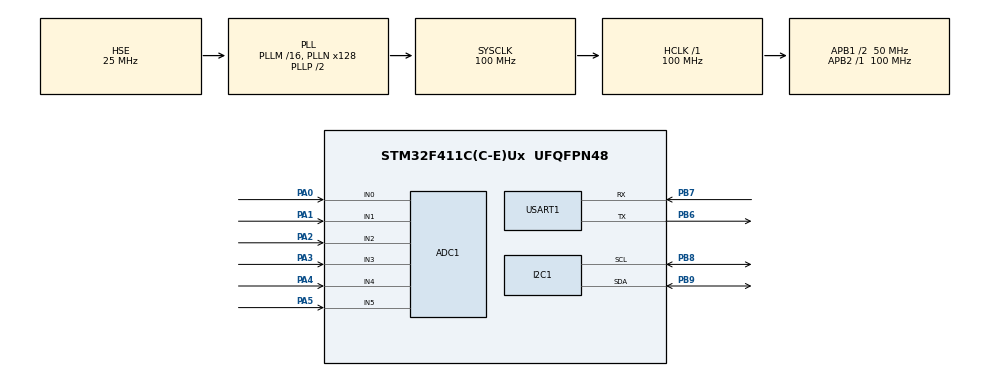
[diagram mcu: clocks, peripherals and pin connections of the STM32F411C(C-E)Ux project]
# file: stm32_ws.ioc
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ADC1.Channel-0\#ChannelRegularConversion=ADC_CHANNEL_0
ADC1.Channel-1\#ChannelRegularConversion=ADC_CHANNEL_1
ADC1.Channel-2\#ChannelRegularConversion=ADC_CHANNEL_2
ADC1.Channel-3\#ChannelRegularConversion=ADC_CHANNEL_3
ADC1.Channel-4\#ChannelRegularConversion=ADC_CHANNEL_4
ADC1.Channel-5\#ChannelRegularConversion=ADC_CHANNEL_5
ADC1.DiscontinuousConvMode=ENABLE
ADC1.NbrOfConversion=6
ADC1.NbrOfConversionFlag=1
ADC1.Rank-0\#ChannelRegularConversion=1
ADC1.Rank-1\#ChannelRegularConversion=2
ADC1.Rank-2\#ChannelRegularConversion=3
ADC1.Rank-3\#ChannelRegularConversion=4
ADC1.Rank-4\#ChannelRegularConversion=5
ADC1.Rank-5\#ChannelRegularConversion=6
ADC1.SamplingTime-0\#ChannelRegularConversion=ADC_SAMPLETIME_112CYCLES
ADC1.SamplingTime-1\#ChannelRegularConversion=ADC_SAMPLETIME_112CYCLES
ADC1.SamplingTime-2\#ChannelRegularConversion=ADC_SAMPLETIME_112CYCLES
ADC1.SamplingTime-3\#ChannelRegularConversion=ADC_SAMPLETIME_112CYCLES
ADC1.SamplingTime-4\#ChannelRegularConversion=ADC_SAMPLETIME_112CYCLES
ADC1.SamplingTime-5\#ChannelRegularConversion=ADC_SAMPLETIME_112CYCLES
ADC1.ScanConvMode=ENABLE
ADC1.master=1
Dma.Request0=USART1_RX
Dma.Request1=USART1_TX
Dma.USART1_RX.0.Direction=DMA_PERIPH_TO_MEMORY
Dma.USART1_RX.0.FIFOMode=DMA_FIFOMODE_DISABLE
Dma.USART1_RX.0.Instance=DMA2_Stream2
Dma.USART1_RX.0.MemDataAlignment=DMA_MDATAALIGN_BYTE
Dma.USART1_RX.0.MemInc=DMA_MINC_ENABLE
Dma.USART1_RX.0.Mode=DMA_CIRCULAR
Dma.USART1_RX.0.PeriphDataAlignment=DMA_PDATAALIGN_BYTE
Dma.USART1_RX.0.PeriphInc=DMA_PINC_DISABLE
Dma.USART1_RX.0.Priority=DMA_PRIORITY_VERY_HIGH
Dma.USART1_TX.1.Direction=DMA_MEMORY_TO_PERIPH
Dma.USART1_TX.1.FIFOMode=DMA_FIFOMODE_DISABLE
Dma.USART1_TX.1.Instance=DMA2_Stream7
Dma.USART1_TX.1.MemDataAlignment=DMA_MDATAALIGN_BYTE
Dma.USART1_TX.1.MemInc=DMA_MINC_ENABLE
Dma.USART1_TX.1.Mode=DMA_NORMAL
Dma.USART1_TX.1.PeriphDataAlignment=DMA_PDATAALIGN_BYTE
Dma.USART1_TX.1.PeriphInc=DMA_PINC_DISABLE
Dma.USART1_TX.1.Priority=DMA_PRIORITY_VERY_HIGH
FREERTOS.Tasks01=defaultTask,24,3000,PublisherTask,Default,NULL,Static,defaultTaskBuffer,defaultTaskControlBlock
I2C1.I2C_Mode=I2C_Fast
Mcu.Family=STM32F4
Mcu.Name=STM32F411C(C-E)Ux
Mcu.Package=UFQFPN48
NVIC.DMA2_Stream2_IRQn=true\:5\:0\:false\:false\:true\:true\:false\:true\:true
NVIC.DMA2_Stream7_IRQn=true\:5\:0\:false\:false\:true\:true\:false\:true\:true
NVIC.PriorityGroup=NVIC_PRIORITYGROUP_4
NVIC.TIM4_IRQn=true\:15\:0\:false\:false\:true\:false\:false\:true\:true
NVIC.TimeBase=TIM4_IRQn
NVIC.TimeBaseIP=TIM4
NVIC.USART1_IRQn=true\:5\:0\:false\:false\:true\:true\:true\:true\:true
PA0-WKUP.Signal=ADCx_IN0
PA1.Signal=ADCx_IN1
PA2.Signal=ADCx_IN2
PA3.Signal=ADCx_IN3
PA4.Signal=ADCx_IN4
PA5.Signal=ADCx_IN5
PB6.Mode=Asynchronous
PB6.Signal=USART1_TX
PB7.Mode=Asynchronous
PB7.Signal=USART1_RX
PB8.Mode=I2C
PB8.Signal=I2C1_SCL
PB9.Mode=I2C
PB9.Signal=I2C1_SDA
PH0\ -\ OSC_IN.Mode=HSE-External-Oscillator
PH0\ -\ OSC_IN.Signal=RCC_OSC_IN
PH1\ -\ OSC_OUT.Mode=HSE-External-Oscillator
PH1\ -\ OSC_OUT.Signal=RCC_OSC_OUT
ProjectManager.HeapSize=0x200
ProjectManager.StackSize=0x400
ProjectManager.TargetToolchain=Makefile
RCC.48MHZClocksFreq_Value=50000000
RCC.AHBFreq_Value=100000000
RCC.APB1CLKDivider=RCC_HCLK_DIV2
RCC.APB1Freq_Value=50000000
RCC.APB1TimFreq_Value=100000000
RCC.APB2Freq_Value=100000000
RCC.APB2TimFreq_Value=100000000
RCC.CortexFreq_Value=100000000
RCC.HCLKFreq_Value=100000000
RCC.HSE_VALUE=25000000
RCC.HSI_VALUE=16000000
RCC.LSE_VALUE=32768
RCC.PLLN=128
RCC.PLLSourceVirtual=RCC_PLLSOURCE_HSE
RCC.SYSCLKFreq_VALUE=100000000
RCC.SYSCLKSource=RCC_SYSCLKSOURCE_PLLCLK
RCC.VCOOutputFreq_Value=200000000
SH.ADCx_IN0.0=ADC1_IN0,IN0
SH.ADCx_IN1.0=ADC1_IN1,IN1
SH.ADCx_IN2.0=ADC1_IN2,IN2
SH.ADCx_IN3.0=ADC1_IN3,IN3
SH.ADCx_IN4.0=ADC1_IN4,IN4
SH.ADCx_IN5.0=ADC1_IN5,IN5
USART1.VirtualMode=VM_ASYNC
VP_FREERTOS_VS_CMSIS_V2.Mode=CMSIS_V2
VP_IWDG_VS_IWDG.Mode=IWDG_Activate
VP_SYS_VS_tim4.Mode=TIM4
board=custom

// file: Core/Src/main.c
/* USER CODE BEGIN Header */
/**
  ******************************************************************************
  * @file           : main.c
  * @brief          : Main program body
  ******************************************************************************
  * @attention
  *
  * Copyright (c) 2025 STMicroelectronics.
  * All rights reserved.
  *
  * This software is licensed under terms that can be found in the LICENSE file
  * in the root directory of this software component.
  * If no LICENSE file comes with this software, it is provided AS-IS.
  *
  ******************************************************************************
  */
/* USER CODE END Header */
#include "main.h"

void SystemClock_Config(void);
void MX_FREERTOS_Init(void);

int main(void)
{

  /* MCU Configuration--------------------------------------------------------*/

  /* Reset of all peripherals, Initializes the Flash interface and the Systick. */
  HAL_Init();

  /* Configure the system clock */
  SystemClock_Config();

  /* Initialize all configured peripherals */
  MX_GPIO_Init();
  MX_DMA_Init();
  MX_ADC1_Init();
  MX_USART1_UART_Init();
  MX_I2C1_Init();
//  MX_IWDG_Init();
  tim_TIM1_3PWM_Config();
  tim_TIM2_3PWM_Config();
  tim_TIM3_3PWM_Config();

  /* USER CODE BEGIN 2 */
  RCC->AHB1ENR |=  RCC_AHB1ENR_GPIOBEN;
  GPIOB->MODER |=  (GPIO_MODER_MODE4_0 | GPIO_MODER_MODE5_0);
  GPIOB->MODER &= ~(GPIO_MODER_MODE4_1 | GPIO_MODER_MODE5_1);

//  GPIOB->MODER |=  GPIO_MODER_MODE1_0;
//  GPIOB->MODER &= ~GPIO_MODER_MODE1_1;

  /* USER CODE END 2 */

  /* Init scheduler */
  osKernelInitialize();  /* Call init function for freertos objects (in cmsis_os2.c) */
  MX_FREERTOS_Init();

  /* Start scheduler */
  osKernelStart();

  /* We should never get here as control is now taken by the scheduler */

  /* Infinite loop */
  while (1)
  {

  }
}

void SystemClock_Config(void)
{
  RCC_OscInitTypeDef RCC_OscInitStruct = {0};
  RCC_ClkInitTypeDef RCC_ClkInitStruct = {0};

  /** Configure the main internal regulator output voltage
  */
  __HAL_RCC_PWR_CLK_ENABLE();
  __HAL_PWR_VOLTAGESCALING_CONFIG(PWR_REGULATOR_VOLTAGE_SCALE1);

  /** Initializes the RCC Oscillators according to the specified parameters
  * in the RCC_OscInitTypeDef structure.
  */
  RCC_OscInitStruct.OscillatorType = RCC_OSCILLATORTYPE_LSI|RCC_OSCILLATORTYPE_HSE;
  RCC_OscInitStruct.HSEState = RCC_HSE_ON;
  RCC_OscInitStruct.LSIState = RCC_LSI_ON;
  RCC_OscInitStruct.PLL.PLLState = RCC_PLL_ON;
  RCC_OscInitStruct.PLL.PLLSource = RCC_PLLSOURCE_HSE;
  RCC_OscInitStruct.PLL.PLLM = 16;
  RCC_OscInitStruct.PLL.PLLN = 128;
  RCC_OscInitStruct.PLL.PLLP = RCC_PLLP_DIV2;
  RCC_OscInitStruct.PLL.PLLQ = 4;
  if (HAL_RCC_OscConfig(&RCC_OscInitStruct) != HAL_OK)
  {
    Error_Handler();
  }

  /** Initializes the CPU, AHB and APB buses clocks
  */
  RCC_ClkInitStruct.ClockType = RCC_CLOCKTYPE_HCLK|RCC_CLOCKTYPE_SYSCLK
                              |RCC_CLOCKTYPE_PCLK1|RCC_CLOCKTYPE_PCLK2;
  RCC_ClkInitStruct.SYSCLKSource = RCC_SYSCLKSOURCE_PLLCLK;
  RCC_ClkInitStruct.AHBCLKDivider = RCC_SYSCLK_DIV1;
  RCC_ClkInitStruct.APB1CLKDivider = RCC_HCLK_DIV2;
  RCC_ClkInitStruct.APB2CLKDivider = RCC_HCLK_DIV1;

  if (HAL_RCC_ClockConfig(&RCC_ClkInitStruct, FLASH_LATENCY_3) != HAL_OK)
  {
    Error_Handler();
  }
}

void HAL_TIM_PeriodElapsedCallback(TIM_HandleTypeDef *htim)
{
  if (htim->Instance == TIM4)
  {
    HAL_IncTick();
  }
}

void Error_Handler(void)
{
  __disable_irq();
  while (1)
  {
  }
}

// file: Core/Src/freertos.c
/* USER CODE BEGIN Header */
/**
 ******************************************************************************
 * File Name          : freertos.c
 * Description        : Code for freertos applications
 ******************************************************************************
 * @attention
 *
 * Copyright (c) 2025 STMicroelectronics.
 * All rights reserved.
 *
 * This software is licensed under terms that can be found in the LICENSE file
 * in the root directory of this software component.
 * If no LICENSE file comes with this software, it is provided AS-IS.
 *
 ******************************************************************************
 */
/* USER CODE END Header */

#include "FreeRTOS.h"
#include "task.h"
#include "main.h"

/* USER CODE BEGIN Includes */
#include <rcl/rcl.h>
#include <rcl/error_handling.h>
#include <rclc/rclc.h>
#include <rclc/executor.h>
#include <uxr/client/transport.h>
#include <rmw_microxrcedds_c/config.h>
#include <rmw_microros/rmw_microros.h>

#include <sensor_msgs/msg/joint_state.h>
#include <rosidl_runtime_c/string_functions.h>
#include <rosidl_runtime_c/primitives_sequence_functions.h>
#include <sensor_msgs/msg/detail/joint_state__functions.h>
/* USER CODE END Includes */

typedef StaticTask_t osStaticThreadDef_t;

/* USER CODE BEGIN PD */
#define NUM_JOINTS (3U)
/* USER CODE END PD */

/* USER CODE BEGIN Variables */
rcl_node_t node;
rclc_support_t support;
rcl_allocator_t allocator;
rclc_executor_t executor;
PCA9548a_s PCA9548a;
sensor_msgs__msg__JointState joint_desired_msg;
sensor_msgs__msg__JointState joint_state_msg;
rcl_publisher_t publisher;
rcl_subscription_t subscriber;
bool microros_initialized   = 0;
bool controller_initialized = 0;
bool filter_initialized     = 0;
PIDController_s pid[NUM_JOINTS];
LowPassFilter_s lpf[NUM_JOINTS];
LowPassFilter_s lpf_qaxis;
HighGainObsv_s  obsv[NUM_JOINTS];
/* USER CODE END Variables */
/* Definitions for jointStatesPublisherTask */
osThreadId_t jointStatesPublisherTaskHandle;
uint32_t jointStatesPublisherTaskBuffer[ 1024 * 3 ];
osStaticThreadDef_t jointStatesPublisherTaskControlBlock;
const osThreadAttr_t jointStatesPublisherTask_attributes = {
		.name = "publisherTask",
		.cb_mem = &jointStatesPublisherTaskControlBlock,
		.cb_size = sizeof(jointStatesPublisherTaskControlBlock),
		.stack_mem = &jointStatesPublisherTaskBuffer[0],
		.stack_size = sizeof(jointStatesPublisherTaskBuffer),
		.priority = (osPriority_t) osPriorityNormal,
};

/* Definitions for jointDesiredSubscriberTask */
osThreadId_t jointDesiredSubscriberTaskHandle;
uint32_t jointDesiredSubscriberTaskBuffer[ 1024 * 3 ];
osStaticThreadDef_t jointDesiredSubscriberTaskControlBlock;
const osThreadAttr_t jointDesiredSubscriberTask_attributes = {
		.name = "subscriberTask",
		.cb_mem = &jointDesiredSubscriberTaskControlBlock,
		.cb_size = sizeof(jointDesiredSubscriberTaskControlBlock),
		.stack_mem = &jointDesiredSubscriberTaskBuffer[0],
		.stack_size = sizeof(jointDesiredSubscriberTaskBuffer),
		.priority = (osPriority_t) osPriorityNormal,
};

/* Definitions for jointStatesReadTask */
osThreadId_t jointStatesReadTaskHandle;
uint32_t jointStatesReadTaskBuffer[ 512 ];
osStaticThreadDef_t jointStatesReadTaskControlBlock;
const osThreadAttr_t jointStatesReadTask_attributes = {
		.name = "jointStatesReadTask",
		.cb_mem = &jointStatesReadTaskControlBlock,
		.cb_size = sizeof(jointStatesReadTaskControlBlock),
		.stack_mem = &jointStatesReadTaskBuffer[0],
		.stack_size = sizeof(jointStatesReadTaskBuffer),
		.priority = (osPriority_t) osPriorityNormal,
};

/* Definitions for jointStatesControlTask */
osThreadId_t jointStatesControlTaskHandle;
uint32_t jointStatesControlTaskBuffer[ 512 ];
osStaticThreadDef_t jointStatesControlTaskControlBlock;
const osThreadAttr_t jointStatesControlTask_attributes = {
	.name = "jointStatesControlTask",
	.cb_mem = &jointStatesControlTaskControlBlock,
	.cb_size = sizeof(jointStatesControlTaskControlBlock),
	.stack_mem = &jointStatesControlTaskBuffer[0],
	.stack_size = sizeof(jointStatesControlTaskBuffer),
	.priority = (osPriority_t) osPriorityNormal,
};

/* Definitions for initTask */
osThreadId_t initTaskHandle;
uint32_t initTaskBuffer[ 1024 * 1 ];
osStaticThreadDef_t initTaskControlBlock;
const osThreadAttr_t initTask_attributes = {
		.name = "initTask",
		.cb_mem = &initTaskControlBlock,
		.cb_size = sizeof(initTaskControlBlock),
		.stack_mem = &initTaskBuffer[0],
		.stack_size = sizeof(initTaskBuffer),
		.priority = (osPriority_t) osPriorityHigh,
};

/* USER CODE BEGIN FunctionPrototypes */
bool cubemx_transport_open(struct uxrCustomTransport * transport);
bool cubemx_transport_close(struct uxrCustomTransport * transport);
size_t cubemx_transport_write(struct uxrCustomTransport* transport, const uint8_t * buf, size_t len, uint8_t * err);
size_t cubemx_transport_read(struct uxrCustomTransport* transport, uint8_t* buf, size_t len, int timeout, uint8_t* err);

void * microros_allocate(size_t size, void * state);
void microros_deallocate(void * pointer, void * state);
void * microros_reallocate(void * pointer, size_t size, void * state);
void * microros_zero_allocate(size_t number_of_elements, size_t size_of_element, void * state);
void JointStateCallback(const void *msgin);
/* USER CODE END FunctionPrototypes */

void JointStatesPublisherTask(void *argument);
void JointDesiredSubscriberTask(void *argument);
void JointStatesReadTask(void *argument);
void JointStatesControlTask(void *argument);
void InitTask(void *argument);
void InitMicroROS(void);
void MX_FREERTOS_Init(void); /* (MISRA C 2004 rule 8.1) */

void ControlLoop(float e, float tau, size_t joint_id);

void ControlLoopNew(float e, float tau, size_t joint_id);

void SetPWM(float dc_phase_a, float dc_phase_b, float dc_phase_c, size_t joint_id);
float TorqueEstimation(uint8_t motor_id);
float TorqueEstimationNew(uint8_t motor_id, float Vq);
float GetDGZ(float theta, float Ua, float Ub, float Uc);
float WrapAngle(float angle);
void InitControllers(void);
void InitFilters(void);
void InitObserversANDqAxisFilter(void);
void MX_FREERTOS_Init(void) {

	initTaskHandle = osThreadNew(InitTask, NULL, &initTask_attributes);

	/* Create the thread(s) */
	/* creation of jointStatesPublisherTask */
	jointStatesPublisherTaskHandle = osThreadNew(JointStatesPublisherTask, NULL, &jointStatesPublisherTask_attributes);

	/* creation of jointDesiredSubscriberTask */
	jointDesiredSubscriberTaskHandle = osThreadNew(JointDesiredSubscriberTask, NULL, &jointDesiredSubscriberTask_attributes);

	/* USER CODE BEGIN RTOS_THREADS */
	/* add threads, ... */
	/* creation of jointStatesReadTask */
	jointStatesReadTaskHandle = osThreadNew(JointStatesReadTask, NULL, &jointStatesReadTask_attributes);

	/* creation of jointStatesControlTask */
	jointStatesControlTaskHandle = osThreadNew(JointStatesControlTask, NULL, &jointStatesControlTask_attributes);

	/* USER CODE END RTOS_THREADS */

}

void JointStatesPublisherTask(void *argument)
{
	while (!microros_initialized) {
		osDelay(10);
	}

	// Initialize publisher
	rclc_publisher_init_best_effort(
			&publisher,
			&node,
			ROSIDL_GET_MSG_TYPE_SUPPORT(sensor_msgs, msg, JointState),
			"joint_states");

	sensor_msgs__msg__JointState__init(&joint_state_msg);

	// Initialize string and double sequences
	rosidl_runtime_c__String__Sequence__init(&joint_state_msg.name, NUM_JOINTS);
	rosidl_runtime_c__double__Sequence__init(&joint_state_msg.position, NUM_JOINTS);
	rosidl_runtime_c__double__Sequence__init(&joint_state_msg.velocity, NUM_JOINTS);
	rosidl_runtime_c__double__Sequence__init(&joint_state_msg.effort, NUM_JOINTS);

	// Assign joint names
	rosidl_runtime_c__String__assign(&joint_state_msg.name.data[0], "joint1");
	rosidl_runtime_c__String__assign(&joint_state_msg.name.data[1], "joint2");
	rosidl_runtime_c__String__assign(&joint_state_msg.name.data[2], "joint3");

	// Initialize joint values
	for (size_t i = 0; i < NUM_JOINTS; i++) {
		joint_state_msg.position.data[i] = 0.0;
		joint_state_msg.velocity.data[i] = 0.0;
		joint_state_msg.effort.data[i]   = 0.0;
	}

	for (;;)
	{
		// Timestamp
		joint_state_msg.header.stamp.sec = (int32_t)(xTaskGetTickCount() / 1000);
		joint_state_msg.header.stamp.nanosec = (xTaskGetTickCount() % 1000) * 1000000;

		// Simulate joint values
		for (size_t i = 0; i < NUM_JOINTS; i++) {
			joint_state_msg.position.data[i] = PCA9548a.position[i];
			joint_state_msg.velocity.data[i] = PCA9548a.velocity[i];
//			joint_state_msg.effort.data[i]   = TorqueEstimation(i);
//			joint_state_msg.effort.data[i]   = 0.0f;
			if (i == 0) {
				joint_state_msg.position.data[i] += 0.30; // sensor 0 offset quick fix
			}
			if (i == 2) {
				joint_state_msg.position.data[i] -= 0.37; // sensor 2 offset quick fix
			}
		}

		// Publish the message
		rcl_ret_t ret = rcl_publish(&publisher, &joint_state_msg, NULL);
		if (ret != RCL_RET_OK) {
			printf("Failed to publish JointState message (line %d)\n", __LINE__);
		}

		GPIOB->ODR ^= GPIO_ODR_OD4;
		HAL_IWDG_Refresh(&hiwdg);
//		osDelay(pdMS_TO_TICKS(1));
		vTaskDelay(pdMS_TO_TICKS(10));
	}
}

void JointDesiredSubscriberTask(void *argument)
{
	while (!microros_initialized) {
		osDelay(10);
	}

	// Spin loop
	for (;;)
	{
		rclc_executor_spin_some(&executor, RCL_MS_TO_NS(1));  // check every 100ms
//		rclc_executor_fini(&executor);
		vTaskDelay(pdMS_TO_TICKS(10));
//		osDelay(pdMS_TO_TICKS(1));
	}
}

/* USER CODE BEGIN Header_PosReadTask */
void JointStatesReadTask(void *argument)
{
	while (!filter_initialized) {
		osDelay(10);
	}
	TickType_t lastWake = xTaskGetTickCount();
	const TickType_t period = pdMS_TO_TICKS(10);

	for (size_t i = 0; i < NUM_JOINTS; i++) {
		PCA9548a.position[i]     = 0.0;
		PCA9548a.prevPosition[i] = 0.0;
		PCA9548a.velocity[i]     = 0.0;
		PCA9548a.prevTick[i]     = 0;
	}

	for (;;)
	{
		for (uint8_t i = 0; i < NUM_JOINTS; i++) {
//			pca9548a_GetStates(&PCA9548a, &lpf[i], i);
			pca9548a_GetStates_HighGain(&PCA9548a, &obsv[i], i);
//			GPIOB->ODR ^= GPIO_ODR_OD1;
		}

//		osDelay(pdMS_TO_TICKS(10));
		vTaskDelayUntil(&lastWake, period);
	}
}

void JointStatesControlTask(void *argument)
{
	while (!controller_initialized) {
		osDelay(10);
	}

//	float gear_coeffs[] = {1.0, 40.0/16.0, 70.0/16.0};
	TickType_t lastWake = xTaskGetTickCount();
	const TickType_t period = pdMS_TO_TICKS(1);

	for (;;)
	{
		for (size_t joint_id = 0; joint_id < NUM_JOINTS; joint_id++) {
			// error calculation
//			float e = joint_desired_msg.position.data[joint_id] - joint_state_msg.position.data[joint_id];
			float e = joint_desired_msg.position.data[joint_id];

			// torque command
			float tau = joint_desired_msg.effort.data[joint_id];

			// run control loop
//			ControlLoop(e * gear_coeffs[joint_id], tau, joint_id);
			ControlLoop(e, tau, joint_id);
//			ControlLoopNew(e, tau, joint_id);
//			osDelay(pdMS_TO_TICKS(1));
			vTaskDelayUntil(&lastWake, period);
		}
//		GPIOB->ODR ^= GPIO_ODR_OD1;
//		vTaskDelayUntil(&lastWake, period);
//		osDelay(pdMS_TO_TICKS(10));
	}
}

void JointStateCallback(const void *msgin)
{
	const sensor_msgs__msg__JointState *msg = (const sensor_msgs__msg__JointState *)msgin;

	if (msg->position.size >= NUM_JOINTS) {
		for (size_t i = 0; i < NUM_JOINTS; i++) {
			joint_desired_msg.position.data[i] = msg->position.data[i];
			joint_desired_msg.velocity.data[i] = msg->velocity.data[i];
			joint_desired_msg.effort.data[i]   = msg->effort.data[i];
		}
	}
	GPIOB->ODR ^= GPIO_ODR_OD5;
}

void InitMicroROS(void)
{
	// Set up micro-ROS UART transport
	rmw_uros_set_custom_transport(
			true,
			(void *) &huart1,
			cubemx_transport_open,
			cubemx_transport_close,
			cubemx_transport_write,
			cubemx_transport_read);

	rcl_allocator_t freeRTOS_allocator = rcutils_get_zero_initialized_allocator();
	freeRTOS_allocator.allocate = microros_allocate;
	freeRTOS_allocator.deallocate = microros_deallocate;
	freeRTOS_allocator.reallocate = microros_reallocate;
	freeRTOS_allocator.zero_allocate =  microros_zero_allocate;

	if (!rcutils_set_default_allocator(&freeRTOS_allocator)) {
		printf("Error on default allocators (line %d)\n", __LINE__);
	}

	allocator = rcl_get_default_allocator();

	//create init_options
	rclc_support_init(&support, 0, NULL, &allocator);

	// create node
	rclc_node_init_default(&node, "stm32_node", "", &support);

	// Initialize subscriber
	rclc_subscription_init_best_effort(
			&subscriber,
			&node,
			ROSIDL_GET_MSG_TYPE_SUPPORT(sensor_msgs, msg, JointState),
			"joint_desireds");

	// Initialize local storage message
	rosidl_runtime_c__String__Sequence__init(&joint_desired_msg.name, NUM_JOINTS);
	rosidl_runtime_c__double__Sequence__init(&joint_desired_msg.position, NUM_JOINTS);
	rosidl_runtime_c__double__Sequence__init(&joint_desired_msg.velocity, NUM_JOINTS);
	rosidl_runtime_c__double__Sequence__init(&joint_desired_msg.effort, NUM_JOINTS);

	// Assign joint names
	rosidl_runtime_c__String__assign(&joint_desired_msg.name.data[0], "joint1");
	rosidl_runtime_c__String__assign(&joint_desired_msg.name.data[1], "joint2");
	rosidl_runtime_c__String__assign(&joint_desired_msg.name.data[2], "joint3");

	// Initialize joint values
	for (size_t i = 0; i < NUM_JOINTS; i++) {
		joint_desired_msg.position.data[i] = 0.0;
		joint_desired_msg.velocity.data[i] = 0.0;
		joint_desired_msg.effort.data[i]   = 0.0;
	}

	rclc_executor_init(&executor, &support.context, 1, &allocator);

	// Add subscription with callback
	rclc_executor_add_subscription(
			&executor,
			&subscriber,
			&joint_desired_msg,
			&JointStateCallback,
			ON_NEW_DATA);

	microros_initialized = 1;

}

void ControlLoop(float e, float tau, size_t joint_id)
{
//	float elec_angle = pid_Operator(&pid[joint_id], e);
	float elec_angle = e;
//	float elec_angle = 14.0 * joint_state_msg.position.data[joint_id];
//	float elec_angle = WrapAngle(pid_Operator(&pid[joint_id], e));
//	float elec_angle = pid_Operator(&pid[joint_id], tau);
//	float elec_angle = tau;
	float Uq = tau; // slow start-up
//	float Uq = pid_Operator(&pid[joint_id], tau);
//	float Uq = tau;
//	float Uq = lpf_Operator(&lpf_qaxis, tau); // slow start-up
	float Ud = 0.0;
//	float theta = joint_state_msg.position.data[joint_id];
//	float w     = joint_state_msg.velocity.data[joint_id];
//	float theta_d = joint_desired_msg.position.data[joint_id];
//	float w_d     = 0.0;
//	float P = 15.0, D = 1.02;
//	float elec_angle = WrapAngle(14 * theta);
////	float Uq = -(P * (theta_d - theta) + D * (w_d - w));
////	float Uq = -(P * (theta_d - 0.0) + D * (0.0 - w));
//	float Uq = -(P * (0.0 - theta) + D * (0.0 - w));
////	Uq = lpf_Operator(&lpf_qaxis, _constrain(-5.0*Uq, -15.0f, 15.0f)); // slow start-up
//	Uq = lpf_Operator(&lpf_qaxis, Uq); // slow start-up
//	float Ud = 0.0;

	// sin cos of elec_angle
	float s_elec_angle = sin(elec_angle);
	float c_elec_angle = cos(elec_angle);

	// inverse park transform
	float Ualpha = c_elec_angle * Ud - s_elec_angle * Uq;
	float Ubeta  = s_elec_angle * Ud + c_elec_angle * Uq;

	// clarke transform
	float Ua = Ualpha;
	float Ub = - 0.5f * Ualpha + 0.5f * sqrt(3.0f) * Ubeta;
	float Uc = - 0.5f * Ualpha - 0.5f * sqrt(3.0f) * Ubeta;

	// center
	float center = 24.0f / 2.0f; // changed. old value = 15 / 2

	// midpoint clamp
	float Umin = fmin(Ua, fmin(Ub, Uc));
	float Umax = fmax(Ua, fmax(Ub, Uc));
	center = center - 0.5f * (Umax + Umin);

//	// centered modulation
//	Ua = _constrain(Ua - Umin, 0.0, 24.0);
//	Ub = _constrain(Ub - Umin, 0.0, 24.0);
//	Uc = _constrain(Uc - Umin, 0.0, 24.0);

	// centered modulation
	Ua = _constrain(Ua + center, 0.0f, 24.0f); // changed
	Ub = _constrain(Ub + center, 0.0f, 24.0f);
	Uc = _constrain(Uc + center, 0.0f, 24.0f);

//	float gear_coeffs[] = {1.0, 40.0/16.0, 70.0/16.0};
//	// pole pairs
//	float pp = 14.0;
//
//	//
//	float theta = joint_state_msg.position.data[joint_id] * gear_coeffs[joint_id] * pp;
//	float Uq_tmp = GetDGZ(theta, Ua, Ub, Uc);
//	joint_state_msg.effort.data[joint_id] = Uq_tmp;

//	joint_state_msg.effort.data[joint_id] = TorqueEstimationNew(joint_id, Uq_tmp);

	float dc_a = _constrain(Ua / 24.0, 0.0, 1.0);
	float dc_b = _constrain(Ub / 24.0, 0.0, 1.0);
	float dc_c = _constrain(Uc / 24.0, 0.0, 1.0);

	SetPWM(dc_a, dc_b, dc_c, joint_id);
}

void ControlLoopNew(float e, float tau, size_t joint_id)
{
	// electrical angle
	float elec_angle = 14.0 * joint_state_msg.position.data[joint_id];

	// dq voltages
 	float Uq = tau;
 	float Ud = 0.0;

	// dc-link voltage
	const float Vdc = 24.0f;

	// linear SVPWM voltage limit
	const float Vmax = Vdc * 0.5773502692f;   // Vdc/sqrt(3)

    // limit dq voltage vector
    float U_mag = sqrtf(Ud * Ud + Uq * Uq);
    if (U_mag > Vmax)
    {
        float scale = Vmax / U_mag;

        Ud *= scale;
        Uq *= scale;
    }

	// sin cos of elec_angle
	float s_elec_angle = sin(elec_angle);
	float c_elec_angle = cos(elec_angle);

	// inverse park transform
	float Ualpha = c_elec_angle * Ud - s_elec_angle * Uq;
	float Ubeta  = s_elec_angle * Ud + c_elec_angle * Uq;

	// inverse clarke transform
    const float SQRT3_BY_2 = 0.8660254038f;
    float Ua = Ualpha;
    float Ub = -0.5f * Ualpha + SQRT3_BY_2 * Ubeta;
    float Uc = -0.5f * Ualpha - SQRT3_BY_2 * Ubeta;

	// centered SVPWM
    float Umin = fminf(Ua, fminf(Ub, Uc));
    float Umax = fmaxf(Ua, fmaxf(Ub, Uc));
    float Vcm  = -0.5f * (Umax + Umin);
    Ua += Vcm;
    Ub += Vcm;
    Uc += Vcm;

    // convert phase voltages to duty cycles
    float dc_a = 0.5f + Ua / Vdc;
    float dc_b = 0.5f + Ub / Vdc;
    float dc_c = 0.5f + Uc / Vdc;
    dc_a = _constrain(dc_a, 0.0f, 1.0f);
    dc_b = _constrain(dc_b, 0.0f, 1.0f);
    dc_c = _constrain(dc_c, 0.0f, 1.0f);

    // PWM generation
    SetPWM(dc_a, dc_b, dc_c, joint_id);
}

void SetPWM(float dc_phase_a, float dc_phase_b, float dc_phase_c, size_t joint_id)
{
	uint32_t ticks = 0;
	switch (joint_id) {
	case 0:
		// PWM counts
		ticks = TIM1->ARR + 1;

		// write duty cycle in timer 1
		TIM1->CCR1 = (ticks * dc_phase_a);
		TIM1->CCR2 = (ticks * dc_phase_b);
		TIM1->CCR3 = (ticks * dc_phase_c);
		break;
	case 1:
		// PWM counts
		ticks = TIM2->ARR + 1;

		// write duty cycle in timer 2
		TIM2->CCR1 = (ticks * dc_phase_a);
		TIM2->CCR2 = (ticks * dc_phase_b);
		TIM2->CCR3 = (ticks * dc_phase_c);
		break;
	case 2:
		// PWM counts
		ticks = TIM3->ARR + 1;

		// write duty cycle in timer 3
		TIM3->CCR1 = (ticks * dc_phase_a);
		TIM3->CCR2 = (ticks * dc_phase_b);
		TIM3->CCR3 = (ticks * dc_phase_c);
		break;
	default:
		break;
	}
}

void InitControllers(void)
{
	for (size_t i = 0; i < NUM_JOINTS; i++) {
		pid_Init(&pid[i]);
		pid_SetGains(&pid[i], 0.01, 20.0, 0.0, 50.0, 1000.0);
	}

	controller_initialized = 1;
}

void InitFilters(void)
{
	float Tfd = 0.1, Tff = 0.05;
//	float Tfd = 0.05, Tff = 0.005;
	for (size_t i = 0; i < NUM_JOINTS; i++) {
		lpf_Init(&lpf[i], Tff, Tfd);
	}

	lpf_Init(&lpf_qaxis, 0.5, Tfd);

	filter_initialized = 1;
}

void InitObserversANDqAxisFilter(void)
{
	// observer initial states
	ObsvStates_s x_hat0;
	x_hat0.pos = 0.0;
	x_hat0.vel = 0.0;

	// design params
	float alpha1 = 6.0;
	float alpha2 = 5.0;
	float eps    = 0.1;

	// initialization
	for (size_t i = 0; i < NUM_JOINTS; i++) {
		observer_Init(&obsv[i], x_hat0, alpha1, alpha2, eps);
	}

	// init q-axis low-pass filter
	float Tfd = 0.1, Tff = 0.5;
	lpf_Init(&lpf_qaxis, Tff, Tfd);

	// flag
	filter_initialized = 1;
}

float TorqueEstimation(uint8_t motor_id)
{
	float Kt = 1.9137; // torque constant for XM9025GB-SR
	uint32_t ticks = 0;
	float    dc    = 0;
	switch (motor_id) {
	case 0:
		// PWM counts
		ticks = TIM1->ARR + 1;

		// duty cycle average
		dc = (float)(TIM1->CCR1 + TIM1->CCR2 + TIM1->CCR3) / (3.0 * ticks);
		break;
	case 1:
		// PWM counts
		ticks = TIM2->ARR + 1;

		// duty cycle average
		dc = (float)(TIM2->CCR1 + TIM2->CCR2 + TIM2->CCR3) / (3.0 * ticks);
		break;
	case 2:
		// PWM counts
		ticks = TIM3->ARR + 1;

		// duty cycle average
		dc = (float)(TIM3->CCR1 + TIM3->CCR2 + TIM3->CCR3) / (3.0 * ticks);
		break;
	default:
		break;
	}

	float R = 34.3; // phase resistance
	float V = 24.0; // phase max voltage
	float torque = Kt * dc * V / R;
	return torque;
}

float TorqueEstimationNew(uint8_t motor_id, float Vq)
{
	float gear_coeffs[] = {1.0, 40.0/16.0, 70.0/16.0};
	float Ke = 1.9137 / 5.0;   // back-emf constant for XM9025GB-SR
	float Kt = 0.6 * Ke;       // torque constant for XM9025GB-SR
	float pp = 14; // pole-pairs
	float lambda = Ke / pp;

	float R = 34.3; // phase resistance
	float w  = joint_state_msg.velocity.data[motor_id];
	float we = w * gear_coeffs[motor_id] * pp;
	float torque = Kt * (Vq - we * lambda) / R;
	return torque;
}

float GetDGZ(float theta, float Ua, float Ub, float Uc)
{

//	// pole pairs
//	float p = 14.0;

	// wrap elec angle
	theta = WrapAngle(theta);

	// calculate q axis value
	float M_PI_2_3 = 2.0 * M_PI / 3.0;
	float Uq =   sqrt(2)/3 * (cos(theta) * Ua + cos(theta - M_PI_2_3) * Ub + cos(theta + M_PI_2_3) * Uc);
//	float Uq = - sqrt(2)/3 * (sin(theta) * Ua + sin(theta - M_PI_2_3) * Ub + sin(theta + M_PI_2_3) * Uc);

	return Uq;
}

float WrapAngle(float angle)
{
	double two_pi = 2.0 * M_PI;

	double wrapped_angle = fmod(angle, two_pi) - M_PI;

	if (wrapped_angle < 0)
		wrapped_angle += two_pi;

	if (wrapped_angle == 0.0 && angle > 0.0)
		wrapped_angle = two_pi;

	float wrapped_angle_float = (float)wrapped_angle; // This line added

	return wrapped_angle_float;
}

void InitTask(void *argument)
{
	// Init Micro-ROS
    InitMicroROS();

    // Init joints controller
    InitControllers();

    // Init sensor filters
//    InitFilters();
    InitObserversANDqAxisFilter();

    // Once done, delete this task
    vTaskDelete(NULL);
}
